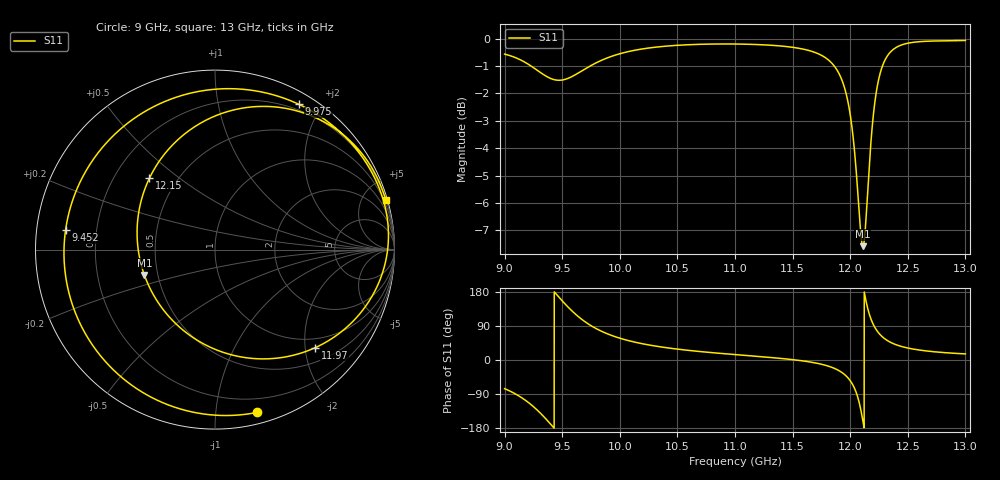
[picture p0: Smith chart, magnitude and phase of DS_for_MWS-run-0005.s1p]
! TOUCHSTONE file generated by CST DESIGN STUDIO
! Date and time: Wed Feb  5 13:35:19 2025
! Project name: C:\Work\MatlabApps\UnitCellOptimizationMatlab\CST\unitcell.cst
! Tree item: Tasks\Sweep1\SPara1\S-Parameters
! Header version: 2024
! Port assignment regex: !\s*Touchstone port\s*([0-9]+)\s*=\s*(CST MWS port|CST DES external port|CST DES block port)\s*(.+)\s* \(\"(.*)\"\)(\s*mode\s*([0-9]+))?.*
! Touchstone port assignment:
! Touchstone port 1 = CST DES external port 1 ("")
# GHz S MA R 50
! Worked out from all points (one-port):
!   4001 points, 9 GHz to 13 GHz, reference 50 ohm
!   lowest |S11| = -7.6 dB at 12.11 GHz (marker M1), VSWR 2.44, Z = 21 - j7.23 ohm
!   |S11| at or under -10 dB: nowhere
!   S11 on the Smith chart (normalised r, x): 9 GHz: 0.09, -1.28; 9.452 GHz: 0.09, +0.06; 9.975 GHz: 0.13, +1.73; 11.97 GHz: 0.79, -2.22; 12.15 GHz: 0.35, +0.39; 13 GHz: 0.21, +7.08
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9  0.9367 -75.7
9.136  0.9146 -97.1
9.239  0.8882 -120.1
9.359  0.854 -155.6
9.452  0.8396 172.5
9.5  0.84 156.1
9.594  0.8544 126.8
9.69  0.8778 102.7
9.829  0.9101 77.6
9.975  0.9347 59.9
10  0.938 57.6
10.215  0.9585 41.8
10.5  0.9719 28.7
11  0.9771 14.3
11.5  0.9637 1.0
11.82  0.9105 -17.1
11.907  0.8598 -28.9
11.972  0.7816 -44.3
12  0.7269 -54.5
12.06  0.5452 -92.6
12.11  0.4182 -160.2
12.132  0.4521 163.4
12.155  0.5399 132.6
12.195  0.7046 97.4
12.242  0.8325 73.3
12.344  0.9421 47.6
12.5  0.9804 31.6
13  0.9919 16.1
